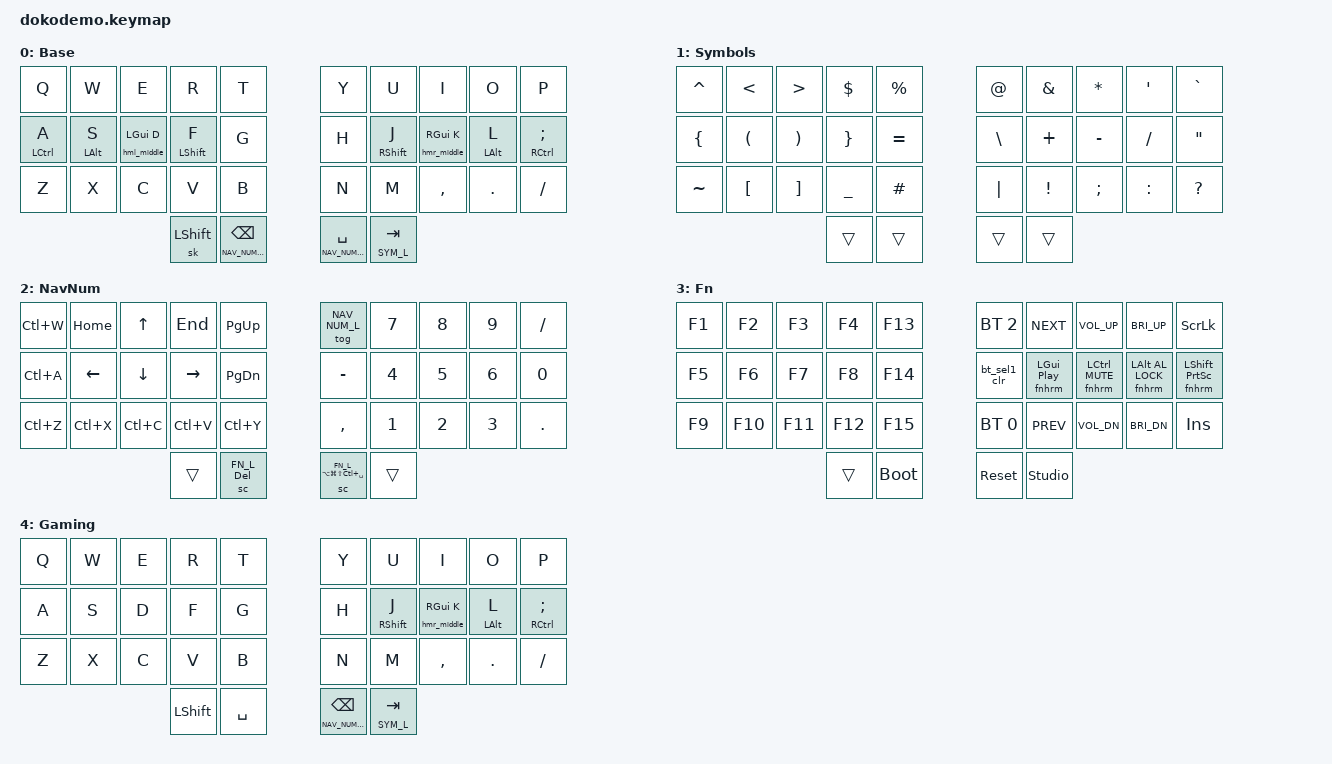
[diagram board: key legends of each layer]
// Copyright (c) 2022 The ZMK Contributors
// SPDX-License-Identifier: MIT

#include <behaviors.dtsi>
#include <dt-bindings/zmk/bt.h>
#include <dt-bindings/zmk/keys.h>
#include "includes/behaviors.dtsi"

#define BASE_L 0
#define SYM_L 1
#define NAV_NUM_L 2
#define FN_L 3
#define GAMING_L 4

/ {
    keymap {
        compatible = "zmk,keymap";

        base_layer {
            display-name = "Base";
            bindings = <
        //╭──────────┬──────────┬──────────┬──────────┬──────────╮   ╭──────────┬──────────┬──────────┬──────────┬──────────╮
            &kp Q      &kp W      &kp E      &kp R      &kp T          &kp Y      &kp U      &kp I      &kp O      &kp P
        //├──────────┼──────────┼──────────┼──────────┼──────────┤   ├──────────┼──────────┼──────────┼──────────┼──────────┤
            &hml_pinky LCTRL A &hml_ring LALT S &hml_middle LGUI D &hml_index LSHFT F &kp G     &kp H      &hmr_index RSHFT J &hmr_middle RGUI K &hmr_ring LALT L &hmr_pinky RCTRL SEMI
        //├──────────┼──────────┼──────────┼──────────┼──────────┤   ├──────────┼──────────┼──────────┼──────────┼──────────┤
            &kp Z      &kp X      &kp C      &kp V      &kp B          &kp N      &kp M      &kp COMMA  &kp DOT    &kp FSLH
        //╰──────────┴──────────┴──────────┼──────────┼──────────┤   ├──────────┼──────────┼──────────┴──────────┴──────────╯
                                         &sk LSHFT  &lt NAV_NUM_L BSPC    &lt NAV_NUM_L SPACE  &lt SYM_L TAB
        //                                 ╰──────────┴──────────╯   ╰──────────┴──────────╯
            >;
        };

        symbols_layer {
            display-name = "Symbols";
            bindings = <
            &kp CARET  &kp LT     &kp GT     &kp DLLR   &kp PRCNT      &kp AT      &kp AMPS   &kp STAR   &kp SQT    &kp GRAVE
            &kp LBRC   &kp LPAR   &kp RPAR   &kp RBRC   &kp EQUAL      &kp BSLH    &kp PLUS   &kp MINUS  &kp FSLH   &kp DQT
            &kp TILDE  &kp LBKT   &kp RBKT   &kp UNDER  &kp HASH       &kp PIPE    &kp EXCL   &kp SEMI   &kp COLON  &kp QMARK
                                             &trans     &trans             &trans       &trans
            >;
        };

        nav_num_layer {
            display-name = "NavNum";
            bindings = <
            &kp LC(W)  &kp HOME   &kp UP     &kp END    &kp PG_UP      &tog NAV_NUM_L  &kp N7     &kp N8     &kp N9     &kp FSLH
            &kp LC(A)  &kp LEFT   &kp DOWN   &kp RIGHT  &kp PG_DN      &kp MINUS        &kp N4     &kp N5     &kp N6     &kp N0
            &kp LC(Z)  &kp LC(X)  &kp LC(C)  &kp LC(V)  &kp LC(Y)      &kp COMMA        &kp N1     &kp N2     &kp N3     &kp DOT
                                             &trans     &sc FN_L DEL       &sc FN_L LA(LG(LS(LC(SPACE))))  &trans
            >;
        };

        fn_layer {
            display-name = "Fn";
            bindings = <
            &kp F1     &kp F2     &kp F3     &kp F4     &kp F13        &bt BT_SEL 2  &kp C_NEXT   &kp C_VOL_UP  &kp C_BRI_UP  &kp SLCK
            &kp F5     &kp F6     &kp F7     &kp F8     &kp F14        &bt_sel1_clr  &fnhrm LGUI C_PP  &fnhrm LCTRL C_MUTE  &fnhrm LALT C_AL_LOCK  &fnhrm LSHIFT PSCRN
            &kp F9     &kp F10    &kp F11    &kp F12    &kp F15        &bt BT_SEL 0  &kp C_PREV   &kp C_VOL_DN  &kp C_BRI_DN  &kp INS
                                             &trans     &bootloader        &sys_reset     &studio_unlock
            >;
        };

        // QWERTY gaming layer: no hold-taps on the left hand, where movement
        // keys and the dedicated Shift/Space thumbs need immediate presses.
        // Right-hand home-row mods keep every modifier available.
        gaming_layer {
            display-name = "Gaming";
            bindings = <
            &kp Q      &kp W      &kp E      &kp R      &kp T          &kp Y      &kp U      &kp I      &kp O      &kp P
            &kp A      &kp S      &kp D      &kp F      &kp G          &kp H      &hmr_index RSHFT J &hmr_middle RGUI K &hmr_ring LALT L &hmr_pinky RCTRL SEMI
            &kp Z      &kp X      &kp C      &kp V      &kp B          &kp N      &kp M      &kp COMMA  &kp DOT    &kp FSLH
                                         &kp LSHFT  &kp SPACE            &lt NAV_NUM_L BSPC  &lt SYM_L TAB
            >;
        };
    };

    combos {
        compatible = "zmk,combos";

        //     0  1  2  3  4     5  6  7  8  9
        //     10 11 12 13 14    15 16 17 18 19
        //     20 21 22 23 24    25 26 27 28 29
        //              30 31    32 33
        combo_caps_word {
            timeout-ms = <40>;
            key-positions = <20 29>;
            bindings = <&caps_word>;
            require-prior-idle-ms = <200>;
        };

        combo_escape {
            timeout-ms = <90>;
            key-positions = <22 21>;
            bindings = <&kp ESC>;
            require-prior-idle-ms = <50>;
        };

        combo_enter {
            timeout-ms = <120>;
            key-positions = <27 28>;
            bindings = <&kp ENTER>;
            require-prior-idle-ms = <50>;
        };

        combo_gaming_on {
            timeout-ms = <60>;
            key-positions = <28 29>;
            bindings = <&tog GAMING_L>;
            layers = <BASE_L>;
            require-prior-idle-ms = <100>;
        };

        combo_gaming_off {
            timeout-ms = <60>;
            key-positions = <28 29>;
            bindings = <&tog GAMING_L>;
            layers = <GAMING_L>;
            require-prior-idle-ms = <100>;
        };
    };
};
